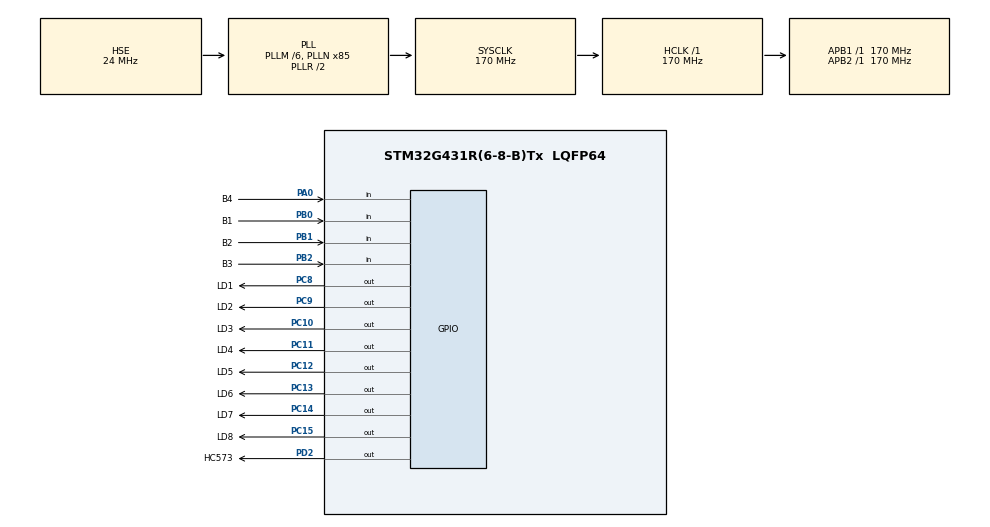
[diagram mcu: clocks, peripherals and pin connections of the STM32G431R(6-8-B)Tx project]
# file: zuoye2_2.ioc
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Mcu.Family=STM32G4
Mcu.Name=STM32G431R(6-8-B)Tx
Mcu.Package=LQFP64
NVIC.PriorityGroup=NVIC_PRIORITYGROUP_4
PA0.GPIO_Label=B4
PA0.GPIO_PuPd=GPIO_PULLUP
PA0.Signal=GPIO_Input
PA13.Mode=Serial_Wire
PA13.Signal=SYS_JTMS-SWDIO
PA14.Mode=Serial_Wire
PA14.Signal=SYS_JTCK-SWCLK
PB0.GPIO_Label=B1
PB0.GPIO_PuPd=GPIO_PULLUP
PB0.Signal=GPIO_Input
PB1.GPIO_Label=B2
PB1.GPIO_PuPd=GPIO_PULLUP
PB1.Signal=GPIO_Input
PB2.GPIO_Label=B3
PB2.GPIO_PuPd=GPIO_PULLUP
PB2.Signal=GPIO_Input
PC10.GPIO_Label=LD3
PC10.Signal=GPIO_Output
PC11.GPIO_Label=LD4
PC11.Signal=GPIO_Output
PC12.GPIO_Label=LD5
PC12.Signal=GPIO_Output
PC13.GPIO_Label=LD6
PC13.Signal=GPIO_Output
PC14-OSC32_IN.GPIO_Label=LD7
PC14-OSC32_IN.Signal=GPIO_Output
PC15-OSC32_OUT.GPIO_Label=LD8
PC15-OSC32_OUT.Signal=GPIO_Output
PC8.GPIO_Label=LD1
PC8.Signal=GPIO_Output
PC9.GPIO_Label=LD2
PC9.Signal=GPIO_Output
PD2.GPIO_Label=HC573
PD2.Signal=GPIO_Output
PF0-OSC_IN.Mode=HSE-External-Oscillator
PF0-OSC_IN.Signal=RCC_OSC_IN
PF1-OSC_OUT.Mode=HSE-External-Oscillator
PF1-OSC_OUT.Signal=RCC_OSC_OUT
ProjectManager.HeapSize=0x200
ProjectManager.StackSize=0x400
ProjectManager.TargetToolchain=MDK-ARM V5.32
RCC.ADC12Freq_Value=170000000
RCC.AHBFreq_Value=170000000
RCC.APB1Freq_Value=170000000
RCC.APB1TimFreq_Value=170000000
RCC.APB2Freq_Value=170000000
RCC.APB2TimFreq_Value=170000000
RCC.CortexFreq_Value=170000000
RCC.EXTERNAL_CLOCK_VALUE=12288000
RCC.HCLKFreq_Value=170000000
RCC.HSE_VALUE=24000000
RCC.HSI48_VALUE=48000000
RCC.HSI_VALUE=16000000
RCC.LSE_VALUE=32768
RCC.PLLM=RCC_PLLM_DIV6
RCC.PLLN=85
RCC.PLLSourceVirtual=RCC_PLLSOURCE_HSE
RCC.SYSCLKFreq_VALUE=170000000
RCC.SYSCLKSource=RCC_SYSCLKSOURCE_PLLCLK
RCC.USBFreq_Value=170000000
RCC.VCOOutputFreq_Value=340000000
VP_SYS_VS_DBSignals.Mode=DisableDeadBatterySignals
board=custom

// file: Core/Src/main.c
/* USER CODE BEGIN Header */
/**
  ******************************************************************************
  * @file           : main.c
  * @brief          : Main program body
  ******************************************************************************
  * @attention
  *
  * Copyright (c) 2025 STMicroelectronics.
  * All rights reserved.
  *
  * This software is licensed under terms that can be found in the LICENSE file
  * in the root directory of this software component.
  * If no LICENSE file comes with this software, it is provided AS-IS.
  *
  ******************************************************************************
  */
/* USER CODE END Header */
#include "main.h"
#include "gpio.h"

void SystemClock_Config(void);
/* USER CODE BEGIN PFP */
unsigned char Read_KEY(void);
void start(void);
void stop(void);
void shanshuo(unsigned int shanshuo_pinlv);
void LED_Init(void);
void LED_ON(unsigned short int Pin);
void LED_OFF(unsigned short int Pin);
void LED_To(unsigned short int Pin);
/* USER CODE END PFP */

int main(void)
{

  /* MCU Configuration--------------------------------------------------------*/

  /* Reset of all peripherals, Initializes the Flash interface and the Systick. */
  HAL_Init();

  /* Configure the system clock */
  SystemClock_Config();

  /* Initialize all configured peripherals */
  MX_GPIO_Init();
  /* USER CODE BEGIN 2 */
	LED_Init();
	uint8_t count=0;

  /* USER CODE END 2 */

  /* Infinite loop */
  while (1)
  {
		if(Read_KEY()==1){
			count++;
		}

		if(count%2!=0){
			start();
		}
		else{
			stop();
		}

  }
}

void SystemClock_Config(void)
{
  RCC_OscInitTypeDef RCC_OscInitStruct = {0};
  RCC_ClkInitTypeDef RCC_ClkInitStruct = {0};

  /** Configure the main internal regulator output voltage
  */
  HAL_PWREx_ControlVoltageScaling(PWR_REGULATOR_VOLTAGE_SCALE1_BOOST);

  /** Initializes the RCC Oscillators according to the specified parameters
  * in the RCC_OscInitTypeDef structure.
  */
  RCC_OscInitStruct.OscillatorType = RCC_OSCILLATORTYPE_HSE;
  RCC_OscInitStruct.HSEState = RCC_HSE_ON;
  RCC_OscInitStruct.PLL.PLLState = RCC_PLL_ON;
  RCC_OscInitStruct.PLL.PLLSource = RCC_PLLSOURCE_HSE;
  RCC_OscInitStruct.PLL.PLLM = RCC_PLLM_DIV6;
  RCC_OscInitStruct.PLL.PLLN = 85;
  RCC_OscInitStruct.PLL.PLLP = RCC_PLLP_DIV2;
  RCC_OscInitStruct.PLL.PLLQ = RCC_PLLQ_DIV2;
  RCC_OscInitStruct.PLL.PLLR = RCC_PLLR_DIV2;
  if (HAL_RCC_OscConfig(&RCC_OscInitStruct) != HAL_OK)
  {
    Error_Handler();
  }

  /** Initializes the CPU, AHB and APB buses clocks
  */
  RCC_ClkInitStruct.ClockType = RCC_CLOCKTYPE_HCLK|RCC_CLOCKTYPE_SYSCLK
                              |RCC_CLOCKTYPE_PCLK1|RCC_CLOCKTYPE_PCLK2;
  RCC_ClkInitStruct.SYSCLKSource = RCC_SYSCLKSOURCE_PLLCLK;
  RCC_ClkInitStruct.AHBCLKDivider = RCC_SYSCLK_DIV1;
  RCC_ClkInitStruct.APB1CLKDivider = RCC_HCLK_DIV1;
  RCC_ClkInitStruct.APB2CLKDivider = RCC_HCLK_DIV1;

  if (HAL_RCC_ClockConfig(&RCC_ClkInitStruct, FLASH_LATENCY_4) != HAL_OK)
  {
    Error_Handler();
  }
}

/* USER CODE BEGIN 4 */
void LED_Init(void){
	HAL_GPIO_WritePin(HC573_GPIO_Port, HC573_Pin, GPIO_PIN_SET);
	HAL_GPIO_WritePin(GPIOC, LD6_Pin|LD7_Pin|LD8_Pin|LD1_Pin|LD2_Pin|LD3_Pin|LD4_Pin|LD5_Pin, GPIO_PIN_SET);
	HAL_GPIO_WritePin(GPIOC, LD6_Pin|LD7_Pin|LD8_Pin|LD1_Pin|LD2_Pin|LD3_Pin|LD4_Pin|LD5_Pin, GPIO_PIN_RESET);
	HAL_Delay(100);
	HAL_GPIO_WritePin(GPIOC, LD6_Pin|LD7_Pin|LD8_Pin|LD1_Pin|LD2_Pin|LD3_Pin|LD4_Pin|LD5_Pin, GPIO_PIN_SET);
}
void LED_ON(unsigned short int Pin){
	HAL_GPIO_WritePin(HC573_GPIO_Port, HC573_Pin, GPIO_PIN_SET);
	HAL_GPIO_WritePin(GPIOC, Pin, GPIO_PIN_RESET);
	HAL_GPIO_WritePin(HC573_GPIO_Port, HC573_Pin, GPIO_PIN_RESET);
}
void LED_OFF(unsigned short int Pin){
	HAL_GPIO_WritePin(HC573_GPIO_Port, HC573_Pin, GPIO_PIN_SET);
	HAL_GPIO_WritePin(GPIOC, Pin, GPIO_PIN_SET);
	HAL_GPIO_WritePin(HC573_GPIO_Port, HC573_Pin, GPIO_PIN_RESET);
}
void LED_To(unsigned short int Pin){
	HAL_GPIO_WritePin(HC573_GPIO_Port, HC573_Pin, GPIO_PIN_SET);
	HAL_GPIO_TogglePin(GPIOC, Pin);
	HAL_GPIO_WritePin(HC573_GPIO_Port, HC573_Pin, GPIO_PIN_RESET);
}
unsigned char Read_KEY(void){
	unsigned char value=0;
	if(HAL_GPIO_ReadPin(B1_GPIO_Port,B1_Pin)==GPIO_PIN_RESET){
			HAL_Delay(20);
			if(HAL_GPIO_ReadPin(B1_GPIO_Port,B1_Pin)==GPIO_PIN_RESET){
				value=1;
				while(HAL_GPIO_ReadPin(B1_GPIO_Port,B1_Pin)==GPIO_PIN_RESET);
			}
		}
	if(HAL_GPIO_ReadPin(B2_GPIO_Port,B2_Pin)==GPIO_PIN_RESET){
			HAL_Delay(20);
			if(HAL_GPIO_ReadPin(B2_GPIO_Port,B2_Pin)==GPIO_PIN_RESET){
				value=2;
				//while(HAL_GPIO_ReadPin(B2_GPIO_Port,B2_Pin)==GPIO_PIN_RESET);
			}
		}
	if(HAL_GPIO_ReadPin(B3_GPIO_Port,B3_Pin)==GPIO_PIN_RESET){
			HAL_Delay(20);
			if(HAL_GPIO_ReadPin(B3_GPIO_Port,B3_Pin)==GPIO_PIN_RESET){
				value=3;
				//while(HAL_GPIO_ReadPin(B3_GPIO_Port,B3_Pin)==GPIO_PIN_RESET);
			}
		}
	if(HAL_GPIO_ReadPin(B4_GPIO_Port,B4_Pin)==GPIO_PIN_RESET){
			HAL_Delay(20);
			if(HAL_GPIO_ReadPin(B4_GPIO_Port,B4_Pin)==GPIO_PIN_RESET){
				value=4;
				//while(HAL_GPIO_ReadPin(B4_GPIO_Port,B4_Pin)==GPIO_PIN_RESET);
			}
		}
	return value;
}
	uint8_t a=0;
	uint16_t count1=0;
	uint16_t temp=0;
	uint16_t liushui_pinlv=100;
	uint16_t shanshuo_pinlv=100;
void start(void){
	if(Read_KEY()==2){
		count1++;
		HAL_Delay(200);
		if(count1%2==0){
			a=0;
		}else{
			a=1;
		}
	}
	else if(Read_KEY()==3){
		temp=a;
		a=3;
	}
	else if(Read_KEY()==4){
		temp=a;
		a=4;
	}
	switch(a){
		case 0:
			LED_ON(LD1_Pin);
			shanshuo(shanshuo_pinlv);
			HAL_Delay(liushui_pinlv);
			LED_OFF(LD1_Pin);
			shanshuo(shanshuo_pinlv);
			LED_ON(LD2_Pin);
			shanshuo(shanshuo_pinlv);
			HAL_Delay(liushui_pinlv);
			LED_OFF(LD2_Pin);
			shanshuo(shanshuo_pinlv);
			LED_ON(LD3_Pin);
			shanshuo(shanshuo_pinlv);
			HAL_Delay(liushui_pinlv);
			LED_OFF(LD3_Pin);
			shanshuo(shanshuo_pinlv);
			LED_ON(LD4_Pin);
			shanshuo(shanshuo_pinlv);
			HAL_Delay(liushui_pinlv);
			shanshuo(shanshuo_pinlv);
			LED_OFF(LD4_Pin);
			break;
		case 1:
			LED_ON(LD4_Pin);
			shanshuo(shanshuo_pinlv);
			HAL_Delay(liushui_pinlv);
			LED_OFF(LD4_Pin);
			shanshuo(shanshuo_pinlv);
			LED_ON(LD3_Pin);
			shanshuo(shanshuo_pinlv);
			HAL_Delay(liushui_pinlv);
			LED_OFF(LD3_Pin);
			shanshuo(shanshuo_pinlv);
			LED_ON(LD2_Pin);
			shanshuo(shanshuo_pinlv);
			HAL_Delay(liushui_pinlv);
			LED_OFF(LD2_Pin);
			shanshuo(shanshuo_pinlv);
			LED_ON(LD1_Pin);
			shanshuo(shanshuo_pinlv);
			HAL_Delay(liushui_pinlv);
			LED_OFF(LD1_Pin);
			shanshuo(shanshuo_pinlv);
			break;
		case 3:
			liushui_pinlv+=100;
			a=temp;
			break;
		case 4:
			shanshuo_pinlv+=100;
			a=temp;
			break;
	}
}
void stop(void){
	LED_OFF(LD1_Pin);
	LED_OFF(LD2_Pin);
	LED_OFF(LD3_Pin);
	LED_OFF(LD4_Pin);
	LED_OFF(LD5_Pin);
	LED_OFF(LD6_Pin);
	LED_OFF(LD7_Pin);
	LED_OFF(LD8_Pin);
}
void shanshuo(unsigned int shanshuo_pinlv){
		LED_ON(LD5_Pin);
		LED_ON(LD6_Pin);
		LED_ON(LD7_Pin);
		LED_ON(LD8_Pin);
		HAL_Delay(shanshuo_pinlv);
		LED_OFF(LD5_Pin);
		LED_OFF(LD6_Pin);
		LED_OFF(LD7_Pin);
		LED_OFF(LD8_Pin);
}

/* USER CODE END 4 */

void Error_Handler(void)
{
  __disable_irq();
  while (1)
  {
  }
}
